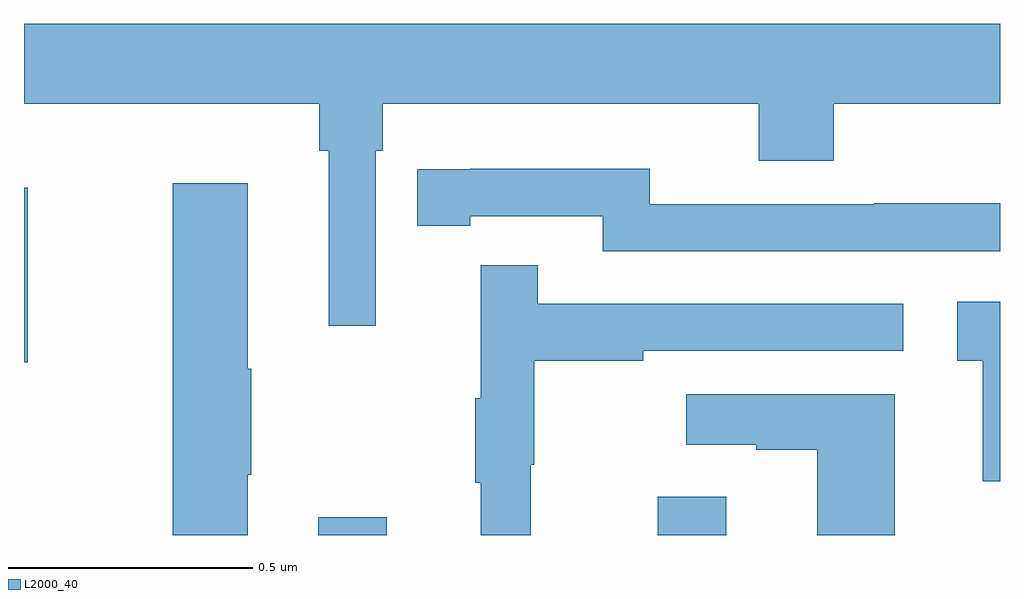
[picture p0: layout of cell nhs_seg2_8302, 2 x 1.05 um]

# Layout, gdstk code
import gdstk
lib = gdstk.Library(unit=1e-6, precision=1e-09)
def R(c, l, rs):  # rectangles x0, y0, x1, y1
    for r in rs: c.add(gdstk.rectangle(r[:2], r[2:], *l))
def P(c, l, *ps):  # polygons
    for p in ps: c.add(gdstk.Polygon(p, *l))
L2000_40 = (2000, 40)

nhs_seg2_8302 = lib.new_cell('nhs_seg2_8302')
R(nhs_seg2_8302, L2000_40, [(215.603,598.8,215.743,598.837), (216.299,598.8,216.439,598.879), (215,599.154,215.008,599.512)])
P(nhs_seg2_8302, L2000_40, [(215.721,599.588),(215.735,599.588),(215.735,599.684),(216.506,599.684),(216.506,599.567),(216.659,599.567),(216.659,599.684),(217,599.684),(217,599.848),(215,599.848),(215,599.684),(215.605,599.684),(215.605,599.588),(215.624,599.588),(215.624,599.229),(215.721,599.229)],
  [(217,599.48),(216.742,599.48),(216.742,599.478),(216.282,599.478),(216.282,599.551),(215.914,599.551),(215.914,599.55),(215.806,599.55),(215.806,599.434),(215.914,599.434),(215.914,599.454),(216.186,599.454),(216.186,599.382),(217,599.382)],
  [(215.458,598.924),(215.466,598.924),(215.466,599.141),(215.458,599.141),(215.458,599.521),(215.305,599.521),(215.305,598.8),(215.458,598.8)],
  [(216.038,598.944),(216.046,598.944),(216.046,599.158),(216.269,599.158),(216.269,599.178),(216.802,599.178),(216.802,599.274),(216.053,599.274),(216.053,599.353),(215.936,599.353),(215.936,599.081),(215.925,599.081),(215.925,598.907),(215.936,598.907),(215.936,598.8),(216.038,598.8)],
  [(217,599.278),(216.912,599.278),(216.912,599.157),(216.965,599.157),(216.965,598.911),(217,598.911)],
  [(216.784,599.089),(216.357,599.089),(216.357,598.985),(216.5,598.985),(216.5,598.975),(216.626,598.975),(216.626,598.8),(216.784,598.8)])

lib.write_gds('nhs_seg2_8302.gds')
